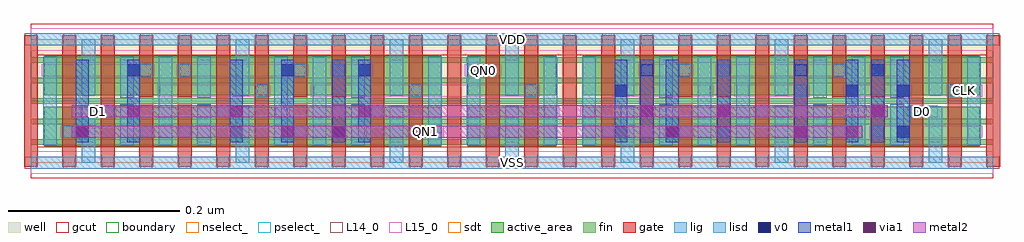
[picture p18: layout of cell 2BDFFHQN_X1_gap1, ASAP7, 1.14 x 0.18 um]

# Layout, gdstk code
import gdstk
lib = gdstk.Library(unit=1e-6, precision=2.5e-10)
def R(c, l, rs):  # rectangles x0, y0, x1, y1
    for r in rs: c.add(gdstk.rectangle(r[:2], r[2:], *l))
def A(c, l, x, y, w, h, nx, ny, dx, dy):  # array of equal rectangles
    R(c, l, [(x+i*dx, y+j*dy, x+i*dx+w, y+j*dy+h) for i in range(nx) for j in range(ny)])
well = (1, 0)
fin = (2, 0)
gate = (7, 0)
gcut = (10, 0)
active_area = (11, 0)
nselect_ = (12, 0)
pselect_ = (13, 0)
L14_0 = (14, 0)
L15_0 = (15, 0)
lig = (16, 0)
lisd = (17, 0)
v0 = (18, 0)
metal1 = (19, 0)
metal2 = (20, 0)
via1 = (21, 0)
sdt = (88, 0)
boundary = (100, 0)

c_2bdffhqn_x1_gap1 = lib.new_cell('2BDFFHQN_X1_gap1')
R(c_2bdffhqn_x1_gap1, well, [(0,0.072,1.125,0.144)])
A(c_2bdffhqn_x1_gap1, fin, 0, 0.021, 1.125, 0.006, 1, 5, 0, 0.024)
A(c_2bdffhqn_x1_gap1, gate, -0.008, -0.005, 0.016, 0.154, 3, 1, 0.045, 0)
A(c_2bdffhqn_x1_gap1, gate, 0.397, -0.005, 0.016, 0.154, 8, 1, 0.045, 0)
A(c_2bdffhqn_x1_gap1, gate, 1.027, -0.005, 0.016, 0.154, 3, 1, 0.045, 0)
R(c_2bdffhqn_x1_gap1, gate, [(0.127,-0.005,0.143,0.067), (0.172,-0.005,0.188,0.067), (0.217,-0.005,0.233,0.149), (0.262,-0.005,0.278,0.149), (0.307,-0.005,0.323,0.067), (0.352,-0.005,0.368,0.067), (0.757,-0.005,0.773,0.067), (0.802,-0.005,0.818,0.067), (0.847,-0.005,0.863,0.149), (0.892,-0.005,0.908,0.149), (0.937,-0.005,0.953,0.067), (0.982,-0.005,0.998,0.067), (0.127,0.077,0.143,0.149), (0.172,0.077,0.188,0.149), (0.307,0.077,0.323,0.149), (0.352,0.077,0.368,0.149), (0.757,0.077,0.773,0.149), (0.802,0.077,0.818,0.149), (0.937,0.077,0.953,0.149), (0.982,0.077,0.998,0.149)])
R(c_2bdffhqn_x1_gap1, gcut, [(0,-0.0185,1.125,0.0185), (-0.008,-0.005,0.008,0.149), (1.117,-0.005,1.133,0.149), (0.127,0.067,0.143,0.077), (0.172,0.067,0.188,0.077), (0.307,0.067,0.323,0.077), (0.352,0.067,0.368,0.077), (0.757,0.067,0.773,0.077), (0.802,0.067,0.818,0.077), (0.937,0.067,0.953,0.077), (0.982,0.067,0.998,0.077), (0,0.1255,1.125,0.1625)])
A(c_2bdffhqn_x1_gap1, active_area, 0.0155, 0.019, 0.059, 0.046, 10, 2, 0.045, 0.06)
A(c_2bdffhqn_x1_gap1, active_area, 0.6455, 0.019, 0.059, 0.046, 10, 2, 0.045, 0.06)
R(c_2bdffhqn_x1_gap1, active_area, [(0.5105,0.019,0.5695,0.065), (0.5555,0.019,0.6145,0.065), (0.5105,0.079,0.5695,0.125), (0.5555,0.079,0.6145,0.125)])
R(c_2bdffhqn_x1_gap1, nselect_, [(0,0,1.125,0.072)])
R(c_2bdffhqn_x1_gap1, pselect_, [(0,0.072,1.125,0.144)])
A(c_2bdffhqn_x1_gap1, L14_0, -0.007, -0.007, 0.014, 0.014, 26, 2, 0.045, 0.144)
R(c_2bdffhqn_x1_gap1, L14_0, [(0.038,0.029,0.052,0.043), (0.128,0.029,0.142,0.043), (0.173,0.029,0.187,0.043), (0.308,0.029,0.322,0.043), (0.353,0.029,0.367,0.043), (0.4655,0.029,0.4795,0.043), (0.533,0.029,0.547,0.043), (0.668,0.029,0.682,0.043), (0.758,0.029,0.772,0.043), (0.803,0.029,0.817,0.043), (0.938,0.029,0.952,0.043), (0.983,0.029,0.997,0.043), (1.0955,0.029,1.1095,0.043), (0.083,0.053,0.097,0.067), (0.218,0.053,0.232,0.067), (0.2855,0.053,0.2995,0.067), (0.398,0.053,0.412,0.067), (0.6005,0.053,0.6145,0.067), (0.6455,0.053,0.6595,0.067), (0.713,0.053,0.727,0.067), (0.848,0.053,0.862,0.067), (0.9605,0.053,0.9745,0.067), (1.028,0.053,1.042,0.067), (0.1505,0.077,0.1645,0.091), (0.263,0.077,0.277,0.091), (0.3305,0.077,0.3445,0.091), (0.443,0.077,0.457,0.091), (0.578,0.077,0.592,0.091), (0.7805,0.077,0.7945,0.091), (0.8255,0.077,0.8395,0.091), (0.893,0.077,0.907,0.091), (1.073,0.077,1.087,0.091), (0.0155,0.101,0.0295,0.115), (0.128,0.101,0.142,0.115), (0.173,0.101,0.187,0.115), (0.308,0.101,0.322,0.115), (0.353,0.101,0.367,0.115), (0.5105,0.101,0.5245,0.115), (0.758,0.101,0.772,0.115), (0.803,0.101,0.817,0.115), (0.938,0.101,0.952,0.115), (0.983,0.101,0.997,0.115)])
R(c_2bdffhqn_x1_gap1, L15_0, [(0,-0.013,1.125,0.013), (0.035,0.029,0.145,0.043), (0.17,0.029,0.325,0.043), (0.35,0.029,0.3925,0.043), (0.44,0.029,0.4825,0.043), (0.53,0.029,0.7,0.043), (0.74,0.029,0.775,0.043), (0.8,0.029,0.955,0.043), (0.98,0.029,1.1125,0.043), (0.0575,0.053,0.1,0.067), (0.215,0.053,0.3025,0.067), (0.395,0.053,0.6175,0.067), (0.6425,0.053,0.73,0.067), (0.845,0.053,0.9775,0.067), (1.025,0.053,1.06,0.067), (0.1475,0.077,0.28,0.091), (0.3275,0.077,0.595,0.091), (0.68,0.077,0.7975,0.091), (0.8225,0.077,0.91,0.091), (0.95,0.077,1.03,0.091), (1.07,0.077,1.1125,0.091), (0.0125,0.101,0.145,0.115), (0.17,0.101,0.325,0.115), (0.35,0.101,0.4,0.115), (0.5075,0.101,0.55,0.115), (0.71,0.101,0.775,0.115), (0.8,0.101,0.955,0.115), (0.98,0.101,1.0225,0.115), (0,0.131,1.125,0.157)])
R(c_2bdffhqn_x1_gap1, lig, [(0,-0.007,1.125,0.007), (0.038,0.029,0.052,0.043), (0.128,0.029,0.142,0.043), (0.173,0.029,0.187,0.043), (0.308,0.029,0.322,0.043), (0.353,0.029,0.367,0.043), (0.533,0.029,0.547,0.043), (0.668,0.029,0.682,0.043), (0.758,0.029,0.772,0.043), (0.803,0.029,0.817,0.043), (0.938,0.029,0.952,0.043), (0.983,0.029,0.997,0.043), (0.083,0.053,0.097,0.067), (0.218,0.053,0.232,0.067), (0.398,0.053,0.412,0.067), (0.713,0.053,0.727,0.067), (0.848,0.053,0.862,0.067), (1.028,0.053,1.042,0.067), (0.263,0.077,0.277,0.091), (0.443,0.077,0.457,0.091), (0.578,0.077,0.592,0.091), (0.893,0.077,0.907,0.091), (1.073,0.077,1.087,0.091), (0.128,0.101,0.142,0.115), (0.173,0.101,0.187,0.115), (0.308,0.101,0.322,0.115), (0.353,0.101,0.367,0.115), (0.758,0.101,0.772,0.115), (0.803,0.101,0.817,0.115), (0.938,0.101,0.952,0.115), (0.983,0.101,0.997,0.115), (0,0.137,1.125,0.151)])
R(c_2bdffhqn_x1_gap1, lisd, [(0.0595,0,0.0755,0.066), (0.0595,0,0.0755,0.066), (0.2395,0,0.2555,0.066), (0.2395,0,0.2555,0.066), (0.4195,0,0.4355,0.066), (0.4195,0,0.4355,0.066), (0.5545,0,0.5705,0.066), (0.5545,0,0.5705,0.066), (0.6895,0,0.7055,0.066), (0.6895,0,0.7055,0.066), (0.8695,0,0.8855,0.066), (0.8695,0,0.8855,0.066), (1.0495,0,1.0655,0.066), (1.0495,0,1.0655,0.066), (0.0145,0.02,0.0305,0.124), (0.1045,0.02,0.1205,0.068), (0.1045,0.02,0.1205,0.068), (0.1495,0.02,0.1655,0.124), (0.1495,0.02,0.1655,0.124), (0.1945,0.02,0.2105,0.068), (0.1945,0.02,0.2105,0.068), (0.2845,0.02,0.3005,0.124), (0.2845,0.02,0.3005,0.124), (0.3295,0.02,0.3455,0.124), (0.3295,0.02,0.3455,0.124), (0.3745,0.02,0.3905,0.068), (0.3745,0.02,0.3905,0.068), (0.4645,0.02,0.4805,0.124), (0.5095,0.02,0.5255,0.124), (0.5995,0.02,0.6155,0.124), (0.6445,0.02,0.6605,0.124), (0.7345,0.02,0.7505,0.068), (0.7345,0.02,0.7505,0.068), (0.7795,0.02,0.7955,0.124), (0.7795,0.02,0.7955,0.124), (0.8245,0.02,0.8405,0.124), (0.8245,0.02,0.8405,0.124), (0.9145,0.02,0.9305,0.068), (0.9145,0.02,0.9305,0.068), (0.9595,0.02,0.9755,0.124), (0.9595,0.02,0.9755,0.124), (1.0045,0.02,1.0205,0.068), (1.0045,0.02,1.0205,0.068), (1.0945,0.02,1.1105,0.124), (0.1045,0.076,0.1205,0.124), (0.1045,0.076,0.1205,0.124), (0.1945,0.076,0.2105,0.124), (0.1945,0.076,0.2105,0.124), (0.3745,0.076,0.3905,0.124), (0.3745,0.076,0.3905,0.124), (0.7345,0.076,0.7505,0.124), (0.7345,0.076,0.7505,0.124), (0.9145,0.076,0.9305,0.124), (0.9145,0.076,0.9305,0.124), (1.0045,0.076,1.0205,0.124), (1.0045,0.076,1.0205,0.124), (0.0595,0.078,0.0755,0.144), (0.0595,0.078,0.0755,0.144), (0.2395,0.078,0.2555,0.144), (0.2395,0.078,0.2555,0.144), (0.4195,0.078,0.4355,0.144), (0.4195,0.078,0.4355,0.144), (0.5545,0.078,0.5705,0.144), (0.5545,0.078,0.5705,0.144), (0.6895,0.078,0.7055,0.144), (0.6895,0.078,0.7055,0.144), (0.8695,0.078,0.8855,0.144), (0.8695,0.078,0.8855,0.144), (1.0495,0.078,1.0655,0.144), (1.0495,0.078,1.0655,0.144)])
A(c_2bdffhqn_x1_gap1, v0, 0.683, 0.029, 0.014, 0.014, 3, 1, 0.06, 0)
R(c_2bdffhqn_x1_gap1, v0, [(0.053,0.029,0.067,0.043), (0.233,0.029,0.247,0.043), (0.353,0.029,0.367,0.043), (1.013,0.029,1.027,0.043), (0.683,0.077,0.697,0.091), (0.953,0.077,0.967,0.091), (1.013,0.077,1.027,0.091), (0.113,0.101,0.127,0.115), (0.293,0.101,0.307,0.115), (0.383,0.101,0.397,0.115), (0.713,0.101,0.727,0.115), (0.893,0.101,0.907,0.115), (0.983,0.101,0.997,0.115)])
A(c_2bdffhqn_x1_gap1, metal1, 0.2325, 0.024, 0.015, 0.096, 3, 1, 0.06, 0)
A(c_2bdffhqn_x1_gap1, metal1, 0.6825, 0.024, 0.015, 0.096, 3, 1, 0.03, 0)
A(c_2bdffhqn_x1_gap1, metal1, 0.9525, 0.024, 0.015, 0.096, 3, 1, 0.03, 0)
R(c_2bdffhqn_x1_gap1, metal1, [(0.0525,0.024,0.0675,0.12), (0.1125,0.024,0.1275,0.12), (0.3825,0.024,0.3975,0.12), (0.8025,0.024,0.8175,0.12), (0.8925,0.024,0.9075,0.12)])
R(c_2bdffhqn_x1_gap1, metal2, [(0.048,0.029,0.972,0.043), (0.048,0.053,1.002,0.067)])
R(c_2bdffhqn_x1_gap1, via1, [(0.053,0.029,0.067,0.043), (0.293,0.029,0.307,0.043), (0.353,0.029,0.367,0.043), (0.743,0.029,0.757,0.043), (0.893,0.029,0.907,0.043), (0.953,0.029,0.967,0.043), (0.113,0.053,0.127,0.067), (0.233,0.053,0.247,0.067), (0.383,0.053,0.397,0.067), (0.713,0.053,0.727,0.067), (0.803,0.053,0.817,0.067), (0.983,0.053,0.997,0.067)])
R(c_2bdffhqn_x1_gap1, sdt, [(0.0145,0.02,0.0305,0.124), (0.1495,0.02,0.1655,0.124), (0.1495,0.02,0.1655,0.124), (0.2845,0.02,0.3005,0.124), (0.2845,0.02,0.3005,0.124), (0.3295,0.02,0.3455,0.124), (0.3295,0.02,0.3455,0.124), (0.4645,0.02,0.4805,0.124), (0.5095,0.02,0.5255,0.124), (0.5995,0.02,0.6155,0.124), (0.6445,0.02,0.6605,0.124), (0.7795,0.02,0.7955,0.124), (0.7795,0.02,0.7955,0.124), (0.8245,0.02,0.8405,0.124), (0.8245,0.02,0.8405,0.124), (0.9595,0.02,0.9755,0.124), (0.9595,0.02,0.9755,0.124), (1.0945,0.02,1.1105,0.124), (0.0595,0.024,0.0755,0.066), (0.0595,0.024,0.0755,0.066), (0.1045,0.024,0.1205,0.066), (0.1045,0.024,0.1205,0.066), (0.1945,0.024,0.2105,0.066), (0.1945,0.024,0.2105,0.066), (0.2395,0.024,0.2555,0.066), (0.2395,0.024,0.2555,0.066), (0.3745,0.024,0.3905,0.066), (0.3745,0.024,0.3905,0.066), (0.4195,0.024,0.4355,0.066), (0.4195,0.024,0.4355,0.066), (0.5545,0.024,0.5705,0.066), (0.5545,0.024,0.5705,0.066), (0.6895,0.024,0.7055,0.066), (0.6895,0.024,0.7055,0.066), (0.7345,0.024,0.7505,0.066), (0.7345,0.024,0.7505,0.066), (0.8695,0.024,0.8855,0.066), (0.8695,0.024,0.8855,0.066), (0.9145,0.024,0.9305,0.066), (0.9145,0.024,0.9305,0.066), (1.0045,0.024,1.0205,0.066), (1.0045,0.024,1.0205,0.066), (1.0495,0.024,1.0655,0.066), (1.0495,0.024,1.0655,0.066), (0.0595,0.078,0.0755,0.12), (0.0595,0.078,0.0755,0.12), (0.1045,0.078,0.1205,0.12), (0.1045,0.078,0.1205,0.12), (0.1945,0.078,0.2105,0.12), (0.1945,0.078,0.2105,0.12), (0.2395,0.078,0.2555,0.12), (0.2395,0.078,0.2555,0.12), (0.3745,0.078,0.3905,0.12), (0.3745,0.078,0.3905,0.12), (0.4195,0.078,0.4355,0.12), (0.4195,0.078,0.4355,0.12), (0.5545,0.078,0.5705,0.12), (0.5545,0.078,0.5705,0.12), (0.6895,0.078,0.7055,0.12), (0.6895,0.078,0.7055,0.12), (0.7345,0.078,0.7505,0.12), (0.7345,0.078,0.7505,0.12), (0.8695,0.078,0.8855,0.12), (0.8695,0.078,0.8855,0.12), (0.9145,0.078,0.9305,0.12), (0.9145,0.078,0.9305,0.12), (1.0045,0.078,1.0205,0.12), (1.0045,0.078,1.0205,0.12), (1.0495,0.078,1.0655,0.12), (1.0495,0.078,1.0655,0.12)])
R(c_2bdffhqn_x1_gap1, boundary, [(0,0,1.125,0.144)])
c_2bdffhqn_x1_gap1.add(gdstk.Label('VDD', (0.5625,0.144), layer=1, texttype=251))
c_2bdffhqn_x1_gap1.add(gdstk.Label('VSS', (0.5625,0), layer=3, texttype=251))
c_2bdffhqn_x1_gap1.add(gdstk.Label('D1', (0.0788,0.06), layer=15, texttype=251))
c_2bdffhqn_x1_gap1.add(gdstk.Label('QN1', (0.4613,0.036), layer=15, texttype=251))
c_2bdffhqn_x1_gap1.add(gdstk.Label('QN0', (0.5288,0.108), layer=15, texttype=251))
c_2bdffhqn_x1_gap1.add(gdstk.Label('D0', (1.0425,0.06), layer=15, texttype=251))
c_2bdffhqn_x1_gap1.add(gdstk.Label('CLK', (1.0913,0.084), layer=15, texttype=251))
c_2bdffhqn_x1_gap1.add(gdstk.Label('VSS', (0.5625,0), layer=15, texttype=251))
c_2bdffhqn_x1_gap1.add(gdstk.Label('VDD', (0.5625,0.144), layer=15, texttype=251))

lib.write_gds('2BDFFHQN_X1_gap1.gds')
